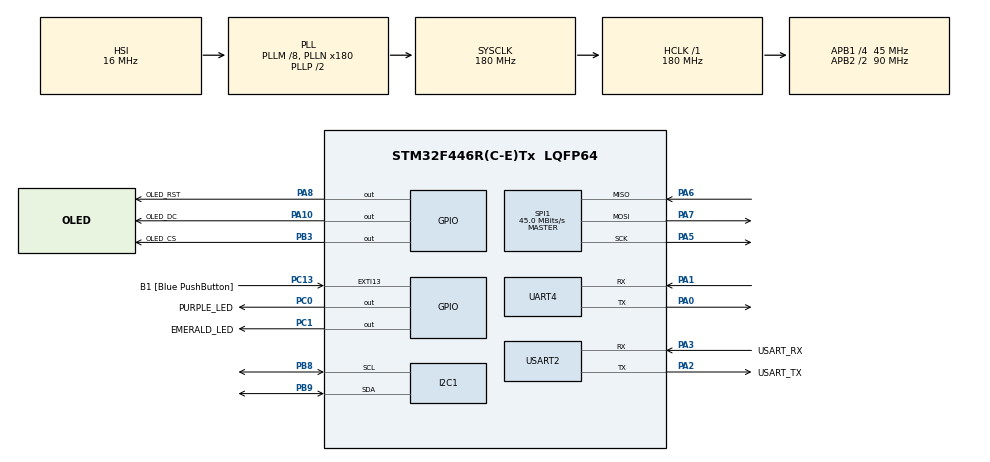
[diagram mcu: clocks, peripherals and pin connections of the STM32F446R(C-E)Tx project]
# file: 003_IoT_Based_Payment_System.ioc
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Dma.Request0=UART4_RX
Dma.UART4_RX.0.Direction=DMA_PERIPH_TO_MEMORY
Dma.UART4_RX.0.FIFOMode=DMA_FIFOMODE_DISABLE
Dma.UART4_RX.0.Instance=DMA1_Stream2
Dma.UART4_RX.0.MemDataAlignment=DMA_MDATAALIGN_BYTE
Dma.UART4_RX.0.MemInc=DMA_MINC_ENABLE
Dma.UART4_RX.0.Mode=DMA_CIRCULAR
Dma.UART4_RX.0.PeriphDataAlignment=DMA_PDATAALIGN_BYTE
Dma.UART4_RX.0.PeriphInc=DMA_PINC_DISABLE
Dma.UART4_RX.0.Priority=DMA_PRIORITY_LOW
Mcu.Family=STM32F4
Mcu.Name=STM32F446R(C-E)Tx
Mcu.Package=LQFP64
NVIC.DMA1_Stream2_IRQn=true\:0\:0\:false\:false\:true\:false\:true\:true
NVIC.PriorityGroup=NVIC_PRIORITYGROUP_4
NVIC.TIM6_DAC_IRQn=true\:15\:0\:false\:false\:true\:false\:true\:true
NVIC.TimeBase=TIM6_DAC_IRQn
NVIC.TimeBaseIP=TIM6
NVIC.UART4_IRQn=true\:0\:0\:false\:false\:true\:true\:true\:true
PA0-WKUP.Mode=Asynchronous
PA0-WKUP.Signal=UART4_TX
PA1.Mode=Asynchronous
PA1.Signal=UART4_RX
PA10.GPIO_Label=OLED_DC
PA10.Signal=GPIO_Output
PA2.GPIO_Label=USART_TX
PA2.Mode=Asynchronous
PA2.Signal=USART2_TX
PA3.GPIO_Label=USART_RX
PA3.Mode=Asynchronous
PA3.Signal=USART2_RX
PA5.Mode=Full_Duplex_Master
PA5.Signal=SPI1_SCK
PA6.Mode=Full_Duplex_Master
PA6.Signal=SPI1_MISO
PA7.Mode=Full_Duplex_Master
PA7.Signal=SPI1_MOSI
PA8.GPIO_Label=OLED_RST
PA8.Signal=GPIO_Output
PB3.GPIO_Label=OLED_CS
PB3.Signal=GPIO_Output
PB8.GPIO_Pu=GPIO_PULLUP
PB8.Mode=I2C
PB8.Signal=I2C1_SCL
PB9.GPIO_Pu=GPIO_PULLUP
PB9.Mode=I2C
PB9.Signal=I2C1_SDA
PC0.GPIO_Label=PURPLE_LED
PC0.Signal=GPIO_Output
PC1.GPIO_Label=EMERALD_LED
PC1.Signal=GPIO_Output
PC13.GPIO_Label=B1 [Blue PushButton]
PC13.GPIO_ModeDefaultEXTI=GPIO_MODE_IT_FALLING
PC13.Signal=GPXTI13
PC14-OSC32_IN.Mode=LSE-External-Oscillator
PC14-OSC32_IN.Signal=RCC_OSC32_IN
PC15-OSC32_OUT.Mode=LSE-External-Oscillator
PC15-OSC32_OUT.Signal=RCC_OSC32_OUT
PH0-OSC_IN.Mode=HSE-External-Oscillator
PH0-OSC_IN.Signal=RCC_OSC_IN
PH1-OSC_OUT.Mode=HSE-External-Oscillator
PH1-OSC_OUT.Signal=RCC_OSC_OUT
ProjectManager.HeapSize=0x300
ProjectManager.StackSize=0x600
ProjectManager.TargetToolchain=STM32CubeIDE
RCC.48MHZClocksFreq_Value=84000000
RCC.AHBFreq_Value=180000000
RCC.APB1CLKDivider=RCC_HCLK_DIV4
RCC.APB1Freq_Value=45000000
RCC.APB1TimFreq_Value=90000000
RCC.APB2CLKDivider=RCC_HCLK_DIV2
RCC.APB2Freq_Value=90000000
RCC.APB2TimFreq_Value=180000000
RCC.CortexFreq_Value=180000000
RCC.FLatency-AdvancedSettings=FLASH_LATENCY_5
RCC.HCLKFreq_Value=180000000
RCC.HSE_VALUE=8000000
RCC.HSI_VALUE=16000000
RCC.PLLM=8
RCC.PLLN=180
RCC.SYSCLKFreq_VALUE=180000000
RCC.SYSCLKSource=RCC_SYSCLKSOURCE_PLLCLK
RCC.USBFreq_Value=180000000
RCC.VCOOutputFreq_Value=360000000
SPI1.BaudRatePrescaler=SPI_BAUDRATEPRESCALER_2
SPI1.CalculateBaudRate=45.0 MBits/s
SPI1.Direction=SPI_DIRECTION_2LINES
SPI1.Mode=SPI_MODE_MASTER
SPI1.VirtualType=VM_MASTER
UART4.VirtualMode=Asynchronous
USART2.VirtualMode=VM_ASYNC
VP_SYS_VS_tim6.Mode=TIM6
board=NUCLEO-F446RE

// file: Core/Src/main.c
/* USER CODE BEGIN Header */
/**
 ******************************************************************************
 * @file           : main.c
 * @brief          : Main program body
 ******************************************************************************
 * @attention
 *
 * Copyright (c) 2025 STMicroelectronics.
 * All rights reserved.
 *
 * This software is licensed under terms that can be found in the LICENSE file
 * in the root directory of this software component.
 * If no LICENSE file comes with this software, it is provided AS-IS.
 *
 ******************************************************************************
 */
/* USER CODE END Header */
#include "main.h"

/* USER CODE BEGIN Includes */
#include "esp32_at.h"

#include "mqtt_helper.h"
#include "FreeRTOS.h"
#include "task.h"
#include "queue.h"
#include "sh1106.h"
#include "payment_app.h"
#include "oled_util.h"
/* USER CODE END Includes */

I2C_HandleTypeDef hi2c1;

SPI_HandleTypeDef hspi1;

UART_HandleTypeDef huart4;
UART_HandleTypeDef huart2;
DMA_HandleTypeDef hdma_uart4_rx;

/* USER CODE BEGIN PV */
QueueHandle_t mqtt_tx_queue;
QueueHandle_t mqtt_rx_queue;

/* USER CODE END PV */

void SystemClock_Config(void);
static void MX_GPIO_Init(void);
static void MX_DMA_Init(void);
static void MX_USART2_UART_Init(void);
static void MX_UART4_Init(void);
static void MX_I2C1_Init(void);
static void MX_SPI1_Init(void);

/* USER CODE BEGIN 0 */

int _write(int file, char *ptr, int len) {
  HAL_UART_Transmit(&huart2, (uint8_t *)ptr, len, HAL_MAX_DELAY);
  return len;
}

// this task receives unsolicited mqtt messages from the aws server
void mqtt_receive_task(void *parameters) {

  mqtt_queue_item_t item = { 0 };

  while(1) {

    BaseType_t rc = xQueueReceive(mqtt_rx_queue, &item, portMAX_DELAY);

    configASSERT(rc == pdPASS);

    // Check if both topic and payload contain valid data
    if (item.operation == MQTT_OPERATION_RECEIVE &&
        item.topic_length   > 0 &&
        item.payload_length > 0) {

      // Log the received message
      LogInfo(("\r\nReceived message:"));
      LogInfo(("Topic: %.*s", (int)item.topic_length, item.topic));
      LogInfo(("Message: %.*s", (int)item.payload_length, item.payload));

      handle_payment_info(item.topic, item.topic_length, item.payload, item.payload_length);

      vTaskDelay(pdMS_TO_TICKS(5000));

      display_qr();
    }
  }
}

void at_cmd_handle_task(void *parameters) {

  (void)parameters;

  mqtt_queue_item_t item, new_message = { 0 };
  mqtt_receive_t mqtt_data = { 0 };
  mqtt_status_t status = MQTT_ERROR;

  static char topic_buffer[MAX_MQTT_TOPIC_SIZE];
  static char payload_buffer[MAX_MQTT_PAYLOAD_SIZE];

  mqtt_data.p_payload = payload_buffer;
  mqtt_data.p_topic = topic_buffer;
  mqtt_data.topic_length = sizeof(topic_buffer);
  mqtt_data.payload_length = sizeof(payload_buffer);

  while(1) {

    //1. De-queue MQTT TX queue
    if (xQueueReceive(mqtt_tx_queue, &item, 0) == pdPASS) {
      if (item.operation == MQTT_OPERATION_PUBLISH) {

        //2. Send MQTT publish AT command using mqtt_publish() (check mqtt_helper.c)
        status = mqtt_publish(item.topic, item.topic_length,
                              item.payload, item.payload_length);

        if (status == MQTT_SUCCESS) {
          LogInfo(("MQTT Publish successful: Topic='%.*s', Payload='%.*s'",
                   (int)item.topic_length, item.topic,
                   (int)item.payload_length, (char *)item.payload));
        } else  {
          LogError(("MQTT Publish failed: Topic='%.*s'",
                    (int)item.topic_length, item.topic));
        }

      } else if (item.operation == MQTT_OPERATION_SUBSCRIBE) {

        //2. Send MQTT subscribe AT command using mqtt_subscribe() (check mqtt_helper.c)
        status = mqtt_subscribe(item.topic, item.topic_length);
        if (status == MQTT_SUCCESS) {
            LogInfo(("MQTT Subscribe successful: Topic='%.*s'",
                     (int)item.topic_length, item.topic));
        } else {
            LogError(("MQTT Subscribe failed: Topic='%.*s'",
                      (int)item.topic_length, item.topic));
        }
      }
    }

    //3. Check for incoming MQTT data (check esp32_recv_mqtt_data() in esp32_at.c)
    esp32_status_t rx_status = esp32_recv_mqtt_data(&mqtt_data);

    if (rx_status != ESP32_ERROR && mqtt_data.payload_length > 0) {
      new_message.operation = MQTT_OPERATION_RECEIVE;
      new_message.payload_length = mqtt_data.payload_length;
      new_message.topic_length = mqtt_data.topic_length;
      memcpy(new_message.payload, mqtt_data.p_payload, mqtt_data.payload_length);
      memcpy(new_message.topic, mqtt_data.p_topic, mqtt_data.topic_length);

      if (xQueueSend(mqtt_rx_queue, &new_message, 0) == pdPASS) {
          LogInfo(("Queued MQTT receive: Topic='%.*s'",
                   (int)new_message.topic_length, new_message.topic));
      }
    }
  }
}

/* USER CODE END 0 */

int main(void)
{

  /* MCU Configuration--------------------------------------------------------*/

  /* Reset of all peripherals, Initializes the Flash interface and the Systick. */
  HAL_Init();

  /* Configure the system clock */
  SystemClock_Config();

  /* Initialize all configured peripherals */
  MX_GPIO_Init();
  MX_DMA_Init();
  MX_USART2_UART_Init();
  MX_UART4_Init();
  MX_I2C1_Init();
  MX_SPI1_Init();
  /* USER CODE BEGIN 2 */

  LogInfo(("Initializing OLED display..."));
   if (sh1106_init(&hspi1) != SH1106_OK) {
     LogError(("Failed to initialize OLED display."));
     Error_Handler();
   }
   LogInfo(("OLED display initialized successfully.\n"));

   display_qr();

  /* Step 1:Initialize the ESP32 Wi-Fi module */
  LogInfo(("Initializing Wi-Fi module..."));
  oled_show_status("Wi-Fi Init...");

  if (esp32_init() != ESP32_OK) {
    LogError(("Failed to initialize Wi-Fi module."));
    oled_show_status("Wi-Fi Init Failed!");

    Error_Handler();
  }
  LogInfo(("Wi-Fi module initialized successfully.\n"));
  oled_show_status("Wi-Fi Ready");

#ifndef USE_OTA
  /* Step 2: Connect to Wi-Fi network*/
  LogInfo(("Joining Access Point: '%s' ...", WIFI_SSID));
  /* Keep attempting to connect to the specified Wi-Fi access point until
   * successful */
  while (esp32_join_ap((uint8_t *)WIFI_SSID, (uint8_t *)WIFI_PASSWORD) !=
         ESP32_OK) {
    LogInfo(("Retrying to join Access Point: %s", WIFI_SSID));
    oled_show_status("Wi-Fi Retry...");

  }
  LogInfo(("Successfully joined Access Point: %s", WIFI_SSID));
  oled_show_message("Wi-Fi Connected", WIFI_SSID);

  /* Step 3: Configure SNTP for time synchronization */
  /* Configure Simple Network Time Protocol (SNTP) with a specified server */
  LogInfo(("Configuring SNTP..."));
  oled_show_status("Config SNTP...");
  if (esp32_config_sntp(UTC_OFFSET) != ESP32_OK) {
    LogError(("Failed to configure SNTP."));
    oled_show_status("SNTP Failed!");
    Error_Handler();
  }
  LogInfo(("SNTP configured !"));
  oled_show_status("SNTP Configured");

  /* Retrieve the current time from SNTP */
  sntp_time_t sntp_time;
  oled_show_status("Syncing Time...");
  if (esp32_get_sntp_time(&sntp_time) != ESP32_OK) {
    LogError(("Failed to retrieve current time from SNTP."));
    oled_show_status("Time Sync Failed!");
    Error_Handler();
  }
  LogInfo(("SNTP time retrieved: %s, %02d %s %04d %02d:%02d:%02d",
           sntp_time.day, sntp_time.date, sntp_time.month, sntp_time.year,
           sntp_time.hour, sntp_time.min, sntp_time.sec));
  oled_show_status("Time Synced");

  /*  Step 4: Configure the MQTT client and establish the connection */
  LogInfo(("Connecting to MQTT broker at %s:%d...", MQTT_BROKER, MQTT_PORT));
  oled_show_status("MQTT Connecting...");
  if (mqtt_connect(CLIENT_ID, MQTT_BROKER, MQTT_PORT) != MQTT_SUCCESS) {
    LogError(("MQTT connection failed."));
    oled_show_status("MQTT Connect Fail");

    Error_Handler();
  }
  LogInfo(("Successfully connected to MQTT broker: %s", MQTT_BROKER));
  oled_show_status("MQTT Connected");

#else
  LogInfo(("Already connected to MQTT broker %s", MQTT_BROKER));
#endif

  LogInfo(("Subscribing to topic: %s", RAZORPAY_TOPIC));
  oled_show_message("Subscribing...", RAZORPAY_TOPIC);
  if (mqtt_subscribe(RAZORPAY_TOPIC, strlen(RAZORPAY_TOPIC)) != MQTT_SUCCESS) {
    LogError(("Subscription to topic '%s' failed.", RAZORPAY_TOPIC));
    oled_show_status("Sub Failed!");
    Error_Handler();
  }
  LogInfo(("Successfully Subscribed to topic: %s", RAZORPAY_TOPIC));
  oled_show_status("Subscribed!");

  /* Create queues */
  mqtt_rx_queue = xQueueCreate(5, sizeof(mqtt_queue_item_t));
  mqtt_tx_queue = xQueueCreate(5, sizeof(mqtt_queue_item_t));
  if (mqtt_rx_queue == NULL || mqtt_tx_queue == NULL) {
    LogError(("Queue creation failed."));
    Error_Handler();
  } else {
    LogInfo(("MQTT TX and RX queues created successfully."));
  }

  display_qr();

  //create 3 freertos tasks

  BaseType_t status;

  status = xTaskCreate(mqtt_receive_task, "Receive sensor data", 2048,
                       NULL, 2, NULL);
  configASSERT(status == pdPASS);

  status = xTaskCreate(at_cmd_handle_task, "MQTT send and receive", 2048, NULL,
                       1, NULL);
  configASSERT(status == pdPASS);

  vTaskStartScheduler();

  /* USER CODE END 2 */

  /* Infinite loop */
  while (1) {

  }
}

void SystemClock_Config(void)
{
  RCC_OscInitTypeDef RCC_OscInitStruct = {0};
  RCC_ClkInitTypeDef RCC_ClkInitStruct = {0};

  /** Configure the main internal regulator output voltage
  */
  __HAL_RCC_PWR_CLK_ENABLE();
  __HAL_PWR_VOLTAGESCALING_CONFIG(PWR_REGULATOR_VOLTAGE_SCALE1);

  /** Initializes the RCC Oscillators according to the specified parameters
  * in the RCC_OscInitTypeDef structure.
  */
  RCC_OscInitStruct.OscillatorType = RCC_OSCILLATORTYPE_HSI;
  RCC_OscInitStruct.HSIState = RCC_HSI_ON;
  RCC_OscInitStruct.HSICalibrationValue = RCC_HSICALIBRATION_DEFAULT;
  RCC_OscInitStruct.PLL.PLLState = RCC_PLL_ON;
  RCC_OscInitStruct.PLL.PLLSource = RCC_PLLSOURCE_HSI;
  RCC_OscInitStruct.PLL.PLLM = 8;
  RCC_OscInitStruct.PLL.PLLN = 180;
  RCC_OscInitStruct.PLL.PLLP = RCC_PLLP_DIV2;
  RCC_OscInitStruct.PLL.PLLQ = 2;
  RCC_OscInitStruct.PLL.PLLR = 2;
  if (HAL_RCC_OscConfig(&RCC_OscInitStruct) != HAL_OK)
  {
    Error_Handler();
  }

  /** Activate the Over-Drive mode
  */
  if (HAL_PWREx_EnableOverDrive() != HAL_OK)
  {
    Error_Handler();
  }

  /** Initializes the CPU, AHB and APB buses clocks
  */
  RCC_ClkInitStruct.ClockType = RCC_CLOCKTYPE_HCLK|RCC_CLOCKTYPE_SYSCLK
                              |RCC_CLOCKTYPE_PCLK1|RCC_CLOCKTYPE_PCLK2;
  RCC_ClkInitStruct.SYSCLKSource = RCC_SYSCLKSOURCE_PLLCLK;
  RCC_ClkInitStruct.AHBCLKDivider = RCC_SYSCLK_DIV1;
  RCC_ClkInitStruct.APB1CLKDivider = RCC_HCLK_DIV4;
  RCC_ClkInitStruct.APB2CLKDivider = RCC_HCLK_DIV2;

  if (HAL_RCC_ClockConfig(&RCC_ClkInitStruct, FLASH_LATENCY_5) != HAL_OK)
  {
    Error_Handler();
  }
}

static void MX_I2C1_Init(void)
{

  hi2c1.Instance = I2C1;
  hi2c1.Init.ClockSpeed = 100000;
  hi2c1.Init.DutyCycle = I2C_DUTYCYCLE_2;
  hi2c1.Init.OwnAddress1 = 0;
  hi2c1.Init.AddressingMode = I2C_ADDRESSINGMODE_7BIT;
  hi2c1.Init.DualAddressMode = I2C_DUALADDRESS_DISABLE;
  hi2c1.Init.OwnAddress2 = 0;
  hi2c1.Init.GeneralCallMode = I2C_GENERALCALL_DISABLE;
  hi2c1.Init.NoStretchMode = I2C_NOSTRETCH_DISABLE;
  if (HAL_I2C_Init(&hi2c1) != HAL_OK)
  {
    Error_Handler();
  }

}

static void MX_SPI1_Init(void)
{

  /* SPI1 parameter configuration*/
  hspi1.Instance = SPI1;
  hspi1.Init.Mode = SPI_MODE_MASTER;
  hspi1.Init.Direction = SPI_DIRECTION_2LINES;
  hspi1.Init.DataSize = SPI_DATASIZE_8BIT;
  hspi1.Init.CLKPolarity = SPI_POLARITY_LOW;
  hspi1.Init.CLKPhase = SPI_PHASE_1EDGE;
  hspi1.Init.NSS = SPI_NSS_SOFT;
  hspi1.Init.BaudRatePrescaler = SPI_BAUDRATEPRESCALER_2;
  hspi1.Init.FirstBit = SPI_FIRSTBIT_MSB;
  hspi1.Init.TIMode = SPI_TIMODE_DISABLE;
  hspi1.Init.CRCCalculation = SPI_CRCCALCULATION_DISABLE;
  hspi1.Init.CRCPolynomial = 10;
  if (HAL_SPI_Init(&hspi1) != HAL_OK)
  {
    Error_Handler();
  }

}

static void MX_UART4_Init(void)
{

  huart4.Instance = UART4;
  huart4.Init.BaudRate = 115200;
  huart4.Init.WordLength = UART_WORDLENGTH_8B;
  huart4.Init.StopBits = UART_STOPBITS_1;
  huart4.Init.Parity = UART_PARITY_NONE;
  huart4.Init.Mode = UART_MODE_TX_RX;
  huart4.Init.HwFlowCtl = UART_HWCONTROL_NONE;
  huart4.Init.OverSampling = UART_OVERSAMPLING_16;
  if (HAL_UART_Init(&huart4) != HAL_OK)
  {
    Error_Handler();
  }

}

static void MX_USART2_UART_Init(void)
{

  huart2.Instance = USART2;
  huart2.Init.BaudRate = 115200;
  huart2.Init.WordLength = UART_WORDLENGTH_8B;
  huart2.Init.StopBits = UART_STOPBITS_1;
  huart2.Init.Parity = UART_PARITY_NONE;
  huart2.Init.Mode = UART_MODE_TX_RX;
  huart2.Init.HwFlowCtl = UART_HWCONTROL_NONE;
  huart2.Init.OverSampling = UART_OVERSAMPLING_16;
  if (HAL_UART_Init(&huart2) != HAL_OK)
  {
    Error_Handler();
  }

}

static void MX_DMA_Init(void)
{

  /* DMA controller clock enable */
  __HAL_RCC_DMA1_CLK_ENABLE();

  /* DMA interrupt init */
  /* DMA1_Stream2_IRQn interrupt configuration */
  HAL_NVIC_SetPriority(DMA1_Stream2_IRQn, 0, 0);
  HAL_NVIC_EnableIRQ(DMA1_Stream2_IRQn);

}

static void MX_GPIO_Init(void)
{
  GPIO_InitTypeDef GPIO_InitStruct = {0};

  /* GPIO Ports Clock Enable */
  __HAL_RCC_GPIOC_CLK_ENABLE();
  __HAL_RCC_GPIOH_CLK_ENABLE();
  __HAL_RCC_GPIOA_CLK_ENABLE();
  __HAL_RCC_GPIOB_CLK_ENABLE();

  /*Configure GPIO pin Output Level */
  HAL_GPIO_WritePin(GPIOC, PURPLE_LED_Pin|EMERALD_LED_Pin, GPIO_PIN_RESET);

  /*Configure GPIO pin Output Level */
  HAL_GPIO_WritePin(GPIOA, OLED_RST_Pin|OLED_DC_Pin, GPIO_PIN_RESET);

  /*Configure GPIO pin Output Level */
  HAL_GPIO_WritePin(OLED_CS_GPIO_Port, OLED_CS_Pin, GPIO_PIN_RESET);

  /*Configure GPIO pin : B1_Pin */
  GPIO_InitStruct.Pin = B1_Pin;
  GPIO_InitStruct.Mode = GPIO_MODE_IT_FALLING;
  GPIO_InitStruct.Pull = GPIO_NOPULL;
  HAL_GPIO_Init(B1_GPIO_Port, &GPIO_InitStruct);

  /*Configure GPIO pins : PURPLE_LED_Pin EMERALD_LED_Pin */
  GPIO_InitStruct.Pin = PURPLE_LED_Pin|EMERALD_LED_Pin;
  GPIO_InitStruct.Mode = GPIO_MODE_OUTPUT_PP;
  GPIO_InitStruct.Pull = GPIO_NOPULL;
  GPIO_InitStruct.Speed = GPIO_SPEED_FREQ_LOW;
  HAL_GPIO_Init(GPIOC, &GPIO_InitStruct);

  /*Configure GPIO pins : OLED_RST_Pin OLED_DC_Pin */
  GPIO_InitStruct.Pin = OLED_RST_Pin|OLED_DC_Pin;
  GPIO_InitStruct.Mode = GPIO_MODE_OUTPUT_PP;
  GPIO_InitStruct.Pull = GPIO_NOPULL;
  GPIO_InitStruct.Speed = GPIO_SPEED_FREQ_LOW;
  HAL_GPIO_Init(GPIOA, &GPIO_InitStruct);

  /*Configure GPIO pin : OLED_CS_Pin */
  GPIO_InitStruct.Pin = OLED_CS_Pin;
  GPIO_InitStruct.Mode = GPIO_MODE_OUTPUT_PP;
  GPIO_InitStruct.Pull = GPIO_NOPULL;
  GPIO_InitStruct.Speed = GPIO_SPEED_FREQ_LOW;
  HAL_GPIO_Init(OLED_CS_GPIO_Port, &GPIO_InitStruct);

}

void HAL_TIM_PeriodElapsedCallback(TIM_HandleTypeDef *htim)
{
  if (htim->Instance == TIM6)
  {
    HAL_IncTick();
  }
}

void Error_Handler(void)
{
  __disable_irq();
  while (1) {
  }
}
#ifdef USE_FULL_ASSERT
/**
  * @brief  Reports the name of the source file and the source line number
  *         where the assert_param error has occurred.
  * @param  file: pointer to the source file name
  * @param  line: assert_param error line source number
  * @retval None
  */
void assert_failed(uint8_t *file, uint32_t line)
{
  /* USER CODE BEGIN 6 */
  /* User can add his own implementation to report the file name and line
     number,
     ex: printf("Wrong parameters value: file %s on line %d\r\n", file, line) */
  /* USER CODE END 6 */
}
#endif /* USE_FULL_ASSERT */
